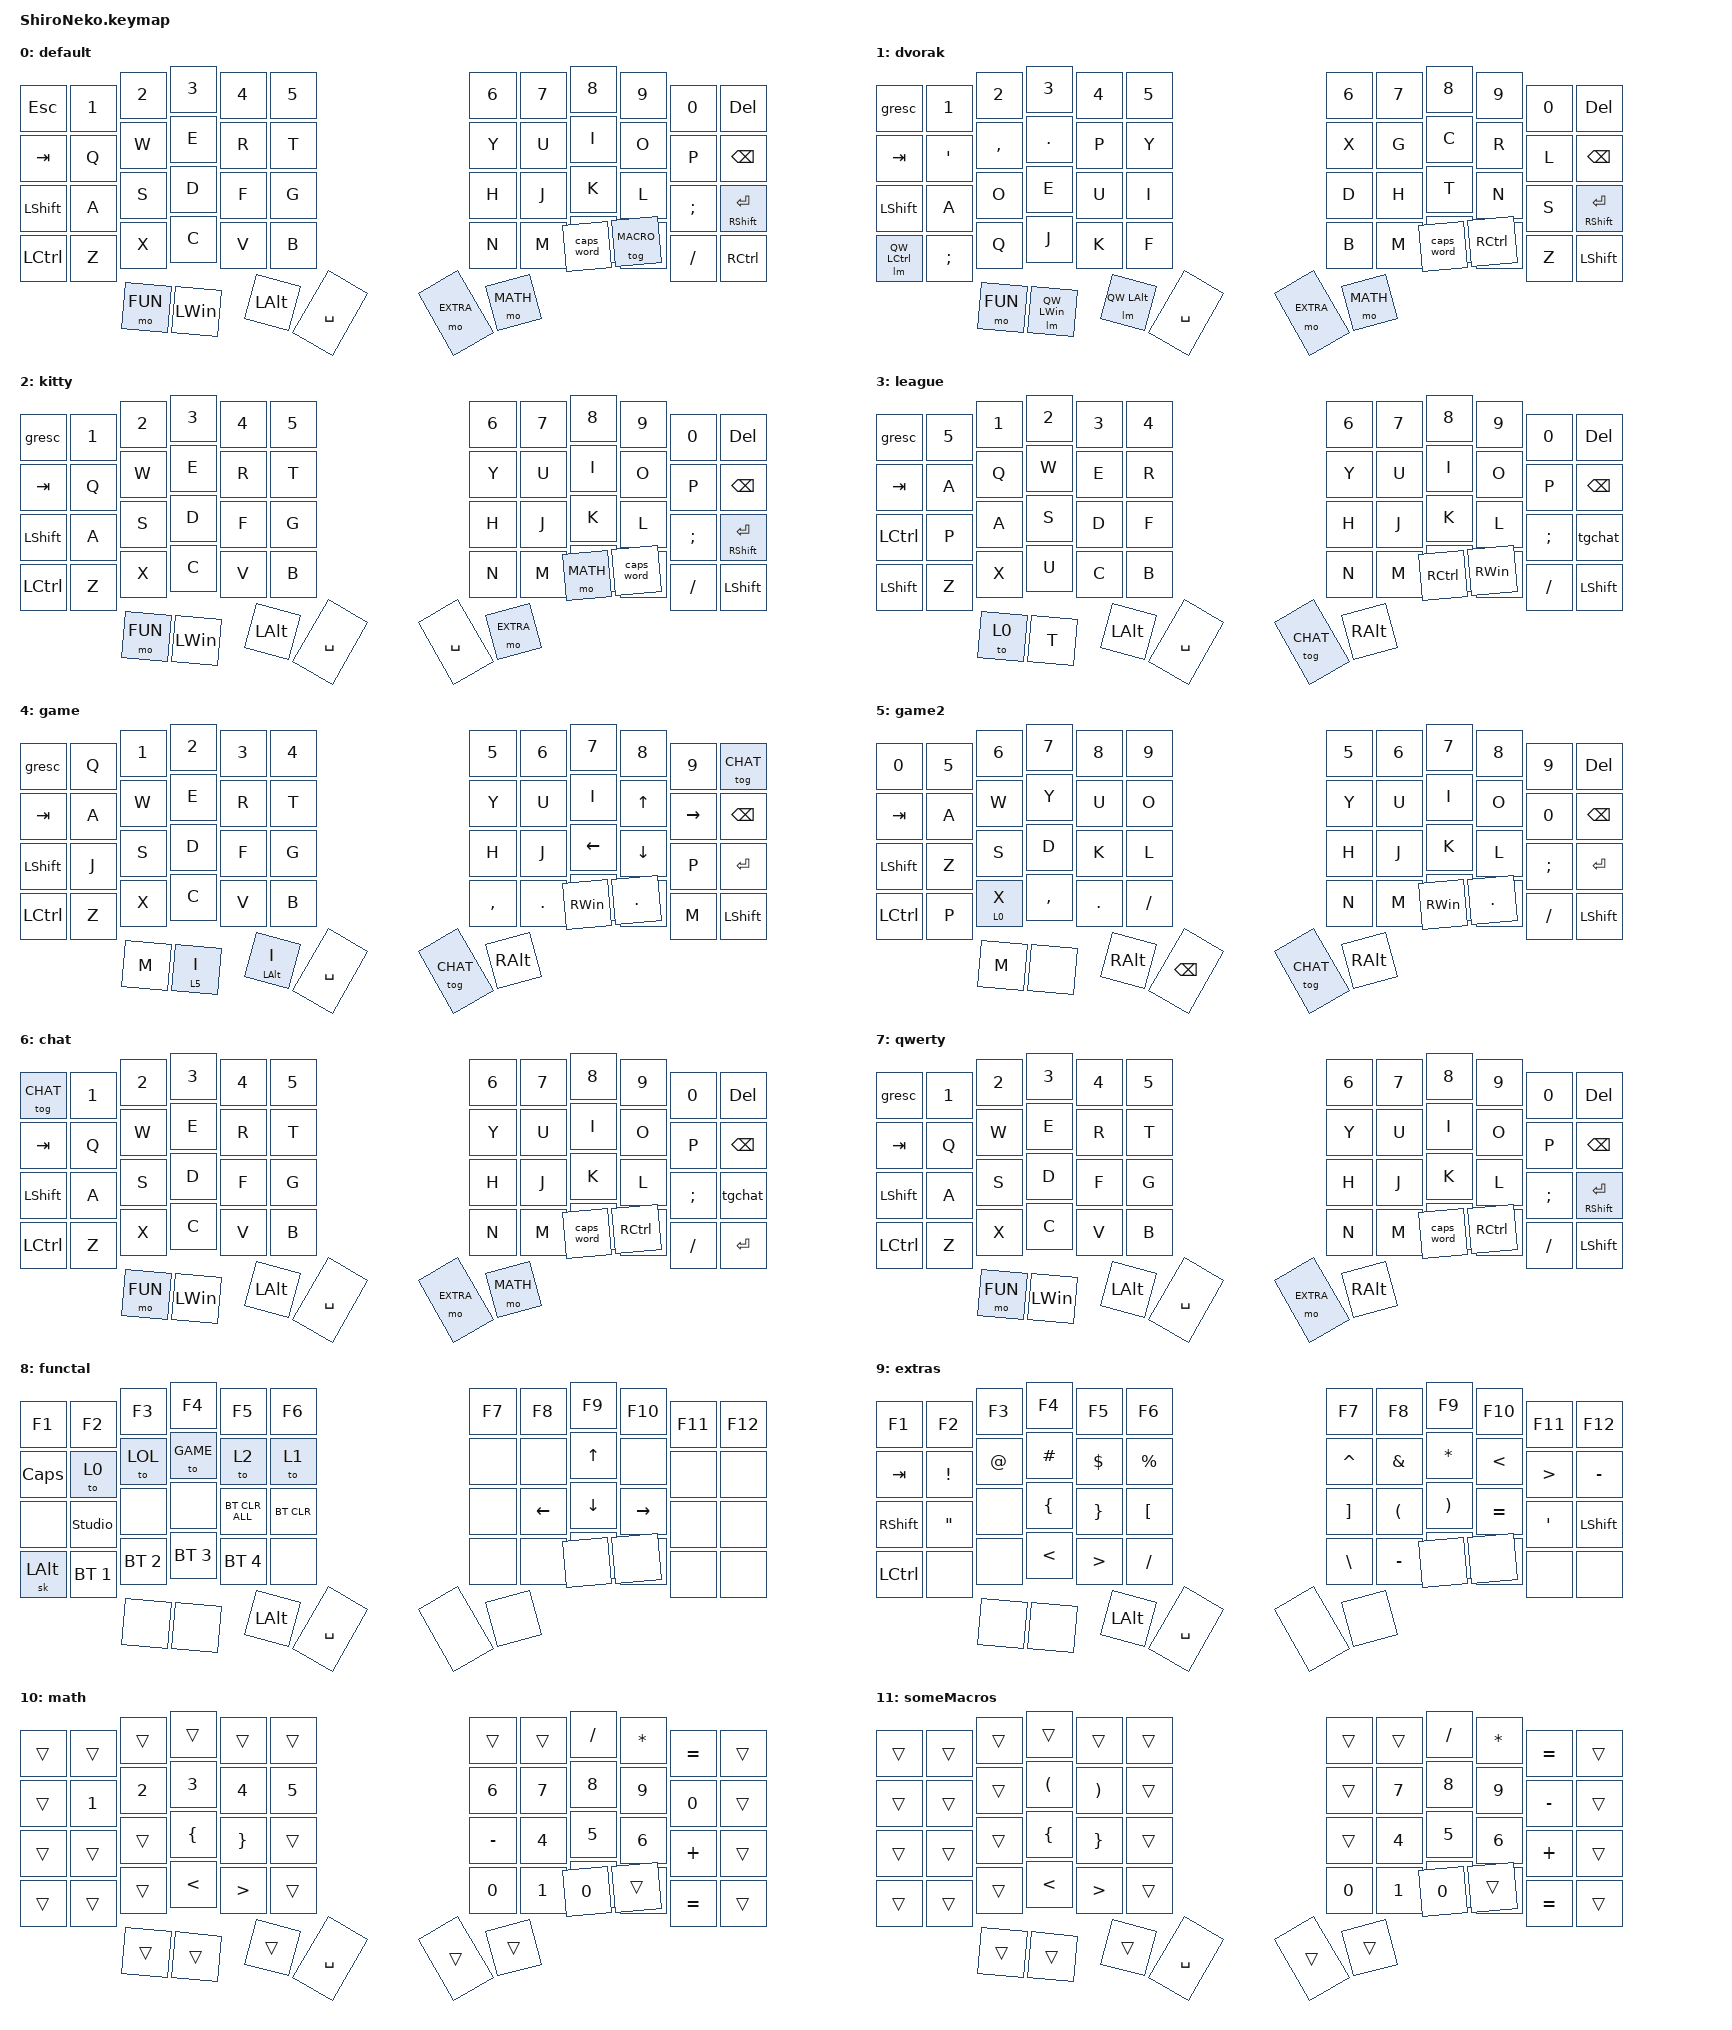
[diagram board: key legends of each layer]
#include <dt-bindings/zmk/keys.h>
#include <behaviors.dtsi>
#include <dt-bindings/zmk/bt.h>
#define LOL 3
#define GAME 4
#define CHAT 6
#define FUN 8
#define EXTRA 9
#define QW 7
#define MATH 10
#define MACRO 11
/ {
    macros {
        tgchat: zed_em_key {
            compatible = "zmk,behavior-macro";
            #binding-cells = <0>;
            bindings
                = <&macro_tap &tog CHAT>
                , <&macro_tap &kp ENTER>
                ;
        };  
        lm: lm {
            compatible = "zmk,behavior-macro-two-param";
            #binding-cells = <2>;
            bindings
                = <&macro_param_1to1>
                , <&macro_press &mo MACRO_PLACEHOLDER>
                , <&macro_param_2to1>
                , <&macro_press &kp MACRO_PLACEHOLDER>
                , <&macro_pause_for_release>
                , <&macro_param_2to1>
                , <&macro_release &kp MACRO_PLACEHOLDER>
                , <&macro_param_1to1>
                , <&macro_release &mo MACRO_PLACEHOLDER>
                ;
        };
    };
    behaviors {
        td0: tap_dance_0 {
            compatible = "zmk,behavior-tap-dance";
            #binding-cells = <0>;
            tapping-term-ms = <200>;
            bindings = <&kp TAB>, <&caps_word>;
        };
        // tabsl: mod-tap-by-hold-tap {
        //     compatible = "zmk,behavior-hold-tap";
        //     label = "MOD_TAP_BY_HOLD_TAP";
        //     #binding-cells = <0>;
        //     tapping-term-ms = <200>;
        //     quick-tap-ms = <10>;
        //     flavor = "hold-preferred";
        //     bindings = <&caps_word>, <&kp TAB>;
        // };
        tlt: layer-tap-by-hold-tap {
            compatible = "zmk,behavior-hold-tap";
            label = "LAYER_TAP_BY_HOLD_TAP";
            #binding-cells = <2>;
            tapping-term-ms = <200>;
            quick-tap-ms = <0>;
            flavor = "tap-preferred";
            bindings = <&to>, <&kp>;
        };
        
        
        // chat_enter: layer-tap-by-hold-tap{
        //     compatible = "zmk,behavior-macro";
        //     label = "SHIFT_AND_CHATTG";
        //     #binding-cells = <0>;
        //     tapping-term-ms = <200>;
        //     quick-tap-ms = <0>;
        //     flavor = "tap-preferred";
        //     bindings = <&kp RSHIFT> <&tgchat>;
        // }
        
        
    };
    
    keymap {
        compatible = "zmk,keymap";

        default_layer:default { // Layer 0
            bindings = <
                &kp ESC     &kp N1  &kp N2  &kp N3      &kp N4   &kp N5             &kp N6  &kp N7  &kp N8      &kp N9  &kp N0      &kp DEL
                &kp TAB     &kp Q   &kp W   &kp E       &kp R    &kp T              &kp Y   &kp U   &kp I       &kp O   &kp P       &kp BACKSPACE
                &kp LSHFT   &kp A   &kp S   &kp D       &kp F    &kp G              &kp H   &kp J   &kp K       &kp L   &kp SEMI    &mt RSHFT ENTER
                &kp LCTRL   &kp Z   &kp X   &kp C       &kp V    &kp B              &kp N   &kp M   &kp COMMA   &kp DOT &kp SLASH   &kp RCTRL  
                                    &mo FUN &kp LWIN    &kp LALT &kp SPACE          &mo EXTRA   &mo MATH   &caps_word   &tog MACRO
            >;
        };
        dvorak { // layer 1
            bindings = <
                &gresc      &kp N1      &kp N2      &kp N3      &kp N4      &kp N5              &kp N6      &kp N7      &kp N8      &kp N9      &kp N0      &kp DEL
                &kp TAB     &kp APOS    &kp COMMA   &kp DOT     &kp P       &kp Y               &kp X       &kp G       &kp C       &kp R       &kp L       &kp BACKSPACE
                &kp LSHFT   &kp A       &kp O       &kp E       &kp U       &kp I               &kp D       &kp H       &kp T       &kp N       &kp S       &mt RSHFT ENTER
                &lm QW LCTRL &kp SEMI   &kp Q       &kp J       &kp K       &kp F               &kp B       &kp M       &kp W       &kp V       &kp Z       &kp LSHFT  
                                        &mo FUN     &lm QW LWIN &lm QW LALT &kp SPACE           &mo EXTRA   &mo MATH   &caps_word  &kp RCTRL
            >;
        };
        kitty { // Layer 2
            bindings = <
                &gresc      &kp N1  &kp N2  &kp N3      &kp N4   &kp N5             &kp N6  &kp N7  &kp N8      &kp N9  &kp N0      &kp DEL
                &kp TAB     &kp Q   &kp W   &kp E       &kp R    &kp T              &kp Y   &kp U   &kp I       &kp O   &kp P       &kp BACKSPACE
                &kp LSHFT   &kp A   &kp S   &kp D       &kp F    &kp G              &kp H   &kp J   &kp K       &kp L   &kp SEMI    &mt RSHFT ENTER
                &kp LCTRL   &kp Z   &kp X   &kp C       &kp V    &kp B              &kp N   &kp M   &kp COMMA   &kp DOT &kp SLASH   &kp LSHFT  
                                    &mo FUN &kp LWIN    &kp LALT &kp SPACE          &kp SPACE   &mo EXTRA   &mo MATH    &caps_word 
            >;
        };

        league { //       L3        ┌───────┬───────┬───────┬───────┐               ┌───────┬───────┬───────┬───────┐
            //  ┌───────────┬───────┤   1   |   2   |   3   |   4   │               │   5   |   6   |   7   |   8   ├───────┬───────────┐
            //  │   gresq   |   5   ├───────┼───────┼───────┼───────┤               ├───────┼───────┼───────┼───────┤   9   │    DELL   │      
            //  ├───────────┼───────┤   Q   |   W   |   E   |   R   │               │   Y   |   U   |   I   |   O   ├───────┼───────────┤
            //  │    TAB    |   A   ├───────┼───────┼───────┼───────┤               ├───────┼───────┼───────┼───────┤   P   │    <--    │
            //  ├───────────┼───────┤   A   |   S   |   D   |   F   │   ---------   │   H   |   J   |   K   |   L   ├───────┼───────────┤
            //  │   LCTRL   |   P   ├───────┼───────┼───────┼───────┤               ├───────┼───────┼───────┼───────┤   ;   │   ↵chat   │
            //  ├───────────┼───────┤   X   |   U   |   C   |   B   │               |   N   |   M   |   ,   |   .   ├───────┼───────────┤
            //  │   LSHIFT  |   Z   ├╤══════╧╤══════╧╤══════╧╤══════╧══╕         ╒══╧══════╤╧══════╤╧══════╤╧══════╤┤   /   │   LSHIFT  │
            //  └───────────┴───────┘│  to0  |   T   |  ALT  |  SPACE  │         |   CHAT  |  RALT | RCTRL |  WIN  |└───────┴───────────┘
            //                       └───────┴───────┴───────┴─────────┘         └─────────┴───────┴───────┴───────┘
            bindings = <
                &gresc      &kp N5  &kp N1  &kp N2  &kp N3  &kp N4          &kp N6      &kp N7  &kp N8      &kp N9  &kp N0      &kp DELETE
                &kp TAB     &kp A   &kp Q   &kp W   &kp E   &kp R           &kp Y       &kp U   &kp I       &kp O   &kp P       &kp BACKSPACE
                &kp LCTRL   &kp P   &kp A   &kp S   &kp D   &kp F           &kp H       &kp J   &kp K       &kp L   &kp SEMI    &tgchat 
                &kp LSHIFT  &kp Z   &kp X   &kp U   &kp C   &kp B           &kp N       &kp M   &kp COMMA   &kp DOT &kp SLASH   &kp LSHFT 
                                    &to 0   &kp T  &kp LALT &kp SPACE       &tog CHAT   &kp RALT &kp RCTRL  &kp RWIN 
            >;
        };
        game { //         L4        ┌───────┬───────┬───────┬───────┐               ┌───────┬───────┬───────┬───────┐
            //  ┌───────────┬───────┤   1   |   2   |   3   |   4   │               │   5   |   6   |   7   |   8   ├───────┬───────────┐
            //  │   gresq   |   Q   ├───────┼───────┼───────┼───────┤               ├───────┼───────┼───────┼───────┤   9   │    CHAT   │      
            //  ├───────────┼───────┤   W   |   E   |   R   |   T   │               │   Y   |   U   |   I   |   ↑   ├───────┼───────────┤
            //  │    TAB    |   A   ├───────┼───────┼───────┼───────┤               ├───────┼───────┼───────┼───────┤   →   │    <--    │
            //  ├───────────┼───────┤   S   |   D   |   F   |   G   │   ---------   │   H   |   J   |   ←   |   ↓   ├───────┼───────────┤
            //  │   LSHIFT  |   J   ├───────┼───────┼───────┼───────┤               ├───────┼───────┼───────┼───────┤   P   │     ↵     │
            //  ├───────────┼───────┤   X   |   C   |   V   |   B   │               |   ,   |   ,   |   /   |   N   ├───────┼───────────┤
            //  │   LCTRL   |   Z   ├╤══════╧╤══════╧╤══════╧╤══════╧══╕         ╒══╧══════╤╧══════╤╧══════╤╧══════╤┤   M   │   LSHIFT  │
            //  └───────────┴───────┘│   M   |game2/J| ALT/I |  SPACE  │         |   CHAT  |  ALT  |  RWIN |   .   |└───────┴───────────┘
            //                       └───────┴───────┴───────┴─────────┘         └─────────┴───────┴───────┴───────┘
            bindings = <
                &gresc      &kp Q    &kp N1     &kp N2  &kp N3      &kp N4          &kp N5      &kp N6      &kp N7          &kp N8              &kp N9              &tog CHAT
                &kp TAB     &kp A    &kp W      &kp E   &kp R       &kp T           &kp Y       &kp U       &kp I           &kp UP_ARROW        &kp RIGHT_ARROW     &kp BACKSPACE
                &kp LSHFT   &kp J    &kp S      &kp D   &kp F       &kp G           &kp H       &kp J       &kp LEFT_ARROW  &kp DOWN_ARROW      &kp P               &kp ENTER
                &kp LCTRL   &kp Z    &kp X      &kp C   &kp V       &kp B           &kp COMMA   &kp DOT     &kp SLASH       &kp N               &kp M               &kp LSHFT  
                                     &kp M      &lt 5 I &mt LALT I  &kp SPACE       &tog CHAT   &kp RALT    &kp RWIN        &kp DOT 
            >;
        };
        game2 {//         L5        ┌───────┬───────┬───────┬───────┐               ┌───────┬───────┬───────┬───────┐
            //  ┌───────────┬───────┤   6   |   7   |   8   |   9   │               │   5   |   6   |   7   |   8   ├───────┬───────────┐
            //  │     0     |   5   ├───────┼───────┼───────┼───────┤               ├───────┼───────┼───────┼───────┤   9   │    CHAT   │      
            //  ├───────────┼───────┤   W   |   E   |   U   |   O   │               │   Y   |   U   |   I   |   ↑   ├───────┼───────────┤
            //  │    TAB    |   A   ├───────┼───────┼───────┼───────┤               ├───────┼───────┼───────┼───────┤   →   │    <--    │
            //  ├───────────┼───────┤   S   |   D   |   K   |   L   │   ---------   │   H   |   J   |   ←   |   ↓   ├───────┼───────────┤
            //  │   LSHIFT  |   Z   ├───────┼───────┼───────┼───────┤               ├───────┼───────┼───────┼───────┤   P   │     ↵     │
            //  ├───────────┼───────┤   X   |   ,   |   .   |   /   │               |   ,   |   ,   |   /   |   N   ├───────┼───────────┤
            //  │   LCTRL   |   P   ├╤══════╧╤══════╧╤══════╧╤══════╧══╕         ╒══╧══════╤╧══════╤╧══════╤╧══════╤┤   M   │   LSHIFT  │
            //  └───────────┴───────┘│   M   |ooooooo|  RALT |   <--   │         |         |ooooooo|   0   |       |└───────┴───────────┘
            //                       └───────┴───────┴───────┴─────────┘         └─────────┴───────┴───────┴───────┘
            bindings = <
                &kp N0      &kp N5   &kp N6     &kp N7      &kp N8    &kp N9            &kp N5      &kp N6  &kp N7      &kp N8  &kp N9      &kp DELETE
                &kp TAB     &kp A    &kp W      &kp Y       &kp U     &kp O             &kp Y       &kp U   &kp I       &kp O   &kp N0      &kp BACKSPACE
                &kp LSHFT   &kp Z    &kp S      &kp D       &kp K     &kp L             &kp H       &kp J   &kp K       &kp L   &kp SEMI    &kp ENTER
                &kp LCTRL   &kp P    &tlt 0  X  &kp COMMA   &kp DOT   &kp SLASH         &kp N       &kp M   &kp COMMA   &kp DOT &kp SLASH   &kp LSHFT  
                                     &kp M      &none       &kp RALT  &kp BACKSPACE     &tog CHAT   &kp RALT &kp RWIN   &kp DOT 
            >;
        };
        chat { // layer  6 for in game chat
            bindings = <
                &tog CHAT   &kp N1  &kp N2  &kp N3      &kp N4   &kp N5             &kp N6  &kp N7  &kp N8      &kp N9  &kp N0      &kp DELETE
                &kp TAB     &kp Q   &kp W   &kp E       &kp R    &kp T              &kp Y   &kp U   &kp I       &kp O   &kp P       &kp BACKSPACE
                &kp LSHFT   &kp A   &kp S   &kp D       &kp F    &kp G              &kp H   &kp J   &kp K       &kp L   &kp SEMI    &tgchat
                &kp LCTRL   &kp Z   &kp X   &kp C       &kp V    &kp B              &kp N   &kp M   &kp COMMA   &kp DOT &kp SLASH   &kp ENTER  
                                    &mo FUN &kp LWIN    &kp LALT &kp SPACE          &mo EXTRA   &mo MATH   &caps_word   &kp RCTRL 
            >;
        };      
        qwerty { // Layer 7            // -------------------------------------
            bindings = <
                &gresc      &kp N1  &kp N2  &kp N3      &kp N4   &kp N5             &kp N6  &kp N7  &kp N8      &kp N9  &kp N0      &kp DEL
                &kp TAB     &kp Q   &kp W   &kp E       &kp R    &kp T              &kp Y   &kp U   &kp I       &kp O   &kp P       &kp BACKSPACE
                &kp LSHFT   &kp A   &kp S   &kp D       &kp F    &kp G              &kp H   &kp J   &kp K       &kp L   &kp SEMI    &mt RSHFT ENTER
                &kp LCTRL   &kp Z   &kp X   &kp C       &kp V    &kp B              &kp N   &kp M   &kp COMMA   &kp DOT &kp SLASH   &kp LSHFT  
                                    &mo FUN &kp LWIN    &kp LALT &kp SPACE          &mo EXTRA   &kp RALT   &caps_word   &kp RCTRL 
            >;
        };


        functal { // Layer 8        
            bindings = <
                &kp F1      &kp F2          &kp F3      &kp F4      &kp F5          &kp F6                  &kp F7  &kp F8          &kp F9          &kp F10         &kp F11 &kp F12
                &kp CAPS    &to 0           &to LOL     &to GAME    &to 2           &to 1                   &none   &none           &kp UP_ARROW    &none           &none   &none
                &none       &studio_unlock  &none       &none       &bt BT_CLR_ALL  &bt BT_CLR              &none   &kp LEFT_ARROW  &kp DOWN_ARROW  &kp RIGHT_ARROW &none   &none
                &sk LALT  &bt BT_SEL 1   &bt BT_SEL 2  &bt BT_SEL 3 &bt BT_SEL 4    &none                   &none   &none           &none           &none           &none   &none  
                                            &none       &none       &kp LALT        &kp SPACE               &none   &none           &none           &none 
            >;
        };
         
       
        extras {//        L9        ┌───────┬───────┬───────┬───────┐               ┌───────┬───────┬───────┬───────┐
            //  ┌───────────┬───────┤   F3  |   F4  |   F5  |   F6  |               |   F7  |   F8  |   F9  |  F10  ├───────┬───────────┐
            //  │     F1    |   F2  ├───────┼───────┼───────┼───────┤               ├───────┼───────┼───────┼───────┤  F11  |    F12    │      
            //  ├───────────┼───────┤   @   |   #   |   $   |   %   │               │   ^   |   &   |   *   |   <   ├───────┼───────────┤
            //  │    TAB    |   !   ├───────┼───────┼───────┼───────┤               ├───────┼───────┼───────┼───────┤   >   |     -     |
            //  ├───────────┼───────┤xxxxxxx|   {   |   }   |   [   │   ---------   │   ]   |   (   |   )   |   =   ├───────┼───────────┤
            //  │   RSHIFT  |xxxxxxx├───────┼───────┼───────┼───────┤               ├───────┼───────┼───────┼───────┤   '   |   LSHIFT  │
            //  ├───────────┼───────┤xxxxxxx|   <   |   >   |   /   │               │   ,   │   ,   │   /   |   N   ├───────┼───────────┤
            //  │   LCTRL   |xxxxxxx├╤══════╧╤══════╧╤══════╧╤══════╧══╕         ╒══╧══════╤╧══════╤╧══════╤╧══════╤┤xxxxxxx|xxxxxxxxxxx│
            //  └───────────┴───────┘│xxxxxxx|xxxxxxx|  LALT |   ' '   │         │ooooooooo|xxxxxxx|xxxxxxx|xxxxxxx|└───────┴───────────┘
            //                       └───────┴───────┴───────┴─────────┘         └─────────┴───────┴───────┴───────┘
            bindings = <
                &kp F1      &kp F2      &kp F3  &kp F4      &kp F5      &kp F6                  &kp F7      &kp F8      &kp F9      &kp F10     &kp F11     &kp F12
                &kp TAB     &kp EXCL    &kp AT  &kp HASH    &kp DLLR    &kp PRCNT               &kp CARET   &kp AMPS    &kp STAR    &kp LT      &kp GT      &kp MINUS
                &kp RSHIFT  &kp DQT     &none   &kp LBRC    &kp RBRC    &kp LBKT                &kp RBKT    &kp LPAR    &kp RPAR    &kp EQUAL   &kp APOS    &kp LSHIFT
                &kp LCTRL   &none       &none   &kp LT      &kp GT      &kp SLASH               &kp BSLH    &kp MINUS   &kp MINUS   &kp PLUS    &none       &none
                                        &none   &none       &kp LALT    &kp SPACE               &none       &none       &none       &none 
            >;
        }; 

        math {//         L10        ┌───────┬───────┬───────┬───────┐               ┌───────┬───────┬───────┬───────┐
            //  ┌───────────┬───────┤       |       |       |       │               │       |       |   /   |   *   ├───────┬───────────┐
            //  │           |       ├───────┼───────┼───────┼───────┤               ├───────┼───────┼───────┼───────┤   =   │           │      
            //  ├───────────┼───────┤       |   (   |   )   |       │               │   6   |   7   |   8   |   9   ├───────┼───────────┤
            //  │           |       ├───────┼───────┼───────┼───────┤               ├───────┼───────┼───────┼───────┤   -   │           │
            //  ├───────────┼───────┤       |   {   |   }   |       │   ---------   │       |   4   |   5   |   6   ├───────┼───────────┤
            //  │           |       ├───────┼───────┼───────┼───────┤               ├───────┼───────┼───────┼───────┤   +   │           │
            //  ├───────────┼───────┤       |   <   |   >   |       │               |   0   |   1   |   2   |   3   ├───────┼───────────┤
            //  │           |       ├╤══════╧╤══════╧╤══════╧╤══════╧══╕         ╒══╧══════╤╧══════╤╧══════╤╧══════╤┤   =   │   LSHIFT  │
            //  └───────────┴───────┘│       |       |       |  SPACE  │         |         |       |       |       |└───────┴───────────┘
            //                       └───────┴───────┴───────┴─────────┘         └─────────┴───────┴───────┴───────┘
            bindings = <
                &trans  &trans  &trans  &trans      &trans      &trans              &trans      &trans  &kp SLASH   &kp STAR    &kp EQUAL   &trans
                &trans  &kp N1  &kp N2  &kp N3      &kp N4      &kp N5              &kp N6      &kp N7  &kp N8      &kp N9      &kp N0      &trans
                &trans  &trans  &trans  &kp LBRC    &kp RBRC    &trans              &kp MINUS   &kp N4  &kp N5      &kp N6      &kp PLUS    &trans 
                &trans  &trans  &trans  &kp LT      &kp GT      &trans              &kp N0      &kp N1  &kp N2      &kp N3      &kp EQUAL   &trans  
                                &trans  &trans      &trans      &kp SPACE           &trans      &trans  &kp N0      &trans 
            >;
        };

        someMacros {//         L11  ┌───────┬───────┬───────┬───────┐               ┌───────┬───────┬───────┬───────┐
            //  ┌───────────┬───────┤       |       |       |       │               │       |       |   /   |   *   ├───────┬───────────┐
            //  │           |       ├───────┼───────┼───────┼───────┤               ├───────┼───────┼───────┼───────┤   =   │           │      
            //  ├───────────┼───────┤       |   (   |   )   |       │               │       |   7   |   8   |   9   ├───────┼───────────┤
            //  │           |       ├───────┼───────┼───────┼───────┤               ├───────┼───────┼───────┼───────┤   -   │           │
            //  ├───────────┼───────┤       |   {   |   }   |       │   ---------   │       |   4   |   5   |   6   ├───────┼───────────┤
            //  │           |       ├───────┼───────┼───────┼───────┤               ├───────┼───────┼───────┼───────┤   +   │           │
            //  ├───────────┼───────┤       |   <   |   >   |       │               |       |   1   |   2   |   3   ├───────┼───────────┤
            //  │   LCTRL   |   P   ├╤══════╧╤══════╧╤══════╧╤══════╧══╕         ╒══╧══════╤╧══════╤╧══════╤╧══════╤┤   M   │   LSHIFT  │
            //  └───────────┴───────┘│   M   |game2/J| ALT/I |  SPACE  │         |         |       |       |       |└───────┴───────────┘
            //                       └───────┴───────┴───────┴─────────┘         └─────────┴───────┴───────┴───────┘
            bindings = <
                &trans  &trans  &trans  &trans      &trans      &trans              &trans  &trans  &kp SLASH   &kp STAR    &kp EQUAL   &trans
                &trans  &trans  &trans  &kp LPAR    &kp RPAR    &trans              &trans  &kp N7  &kp N8      &kp N9      &kp MINUS   &trans
                &trans  &trans  &trans  &kp LBRC    &kp RBRC    &trans              &trans  &kp N4  &kp N5      &kp N6      &kp PLUS    &trans 
                &trans  &trans  &trans  &kp LT      &kp GT      &trans              &kp N0  &kp N1  &kp N2      &kp N3      &kp EQUAL   &trans  
                                &trans  &trans      &trans      &kp SPACE           &trans  &trans  &kp N0      &trans 
            >;
        };

    };

};

            //                      ┌───────┬───────┬───────┬───────┐               ┌───────┬───────┬───────┬───────┐
            //  ┌───────────┬───────┤   1   |   2   |   3   |   4   │               │       |       |   /   |   *   ├───────┬───────────┐
            //  │    TAB    |   A   ├───────┼───────┼───────┼───────┤               ├───────┼───────┼───────┼───────┤       │           │      
            //  ├───────────┼───────┤   W   |   E   |   R   |   T   │               │       |   7   |   8   |   9   ├───────┼───────────┤
            //  │    TAB    |   A   ├───────┼───────┼───────┼───────┤               ├───────┼───────┼───────┼───────┤       │           │
            //  ├───────────┼───────┤   S   |   D   |   F   |   G   │   ---------   │       |   4   |   5   |   6   ├───────┼───────────┤
            //  │   LSHIFT  |   L   ├───────┼───────┼───────┼───────┤               ├───────┼───────┼───────┼───────┤       │           │
            //  ├───────────┼───────┤   X   |   C   |   V   |   B   │               |       |   1   |   2   |   3   ├───────┼───────────┤
            //  │   LCTRL   |   P   ├╤══════╧╤══════╧╤══════╧╤══════╧╕             ╒╧══════╤╧══════╤╧══════╤╧══════╤┤   =   │           │
            //  └───────────┴───────┘│   M   |game2/J| ALT/I |       │             |       |ooooooo|   0   |       |└───────┴───────────┘
            //                       └───────┴───────┴───────┴───────┘             └───────┴───────┴───────┴───────┘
